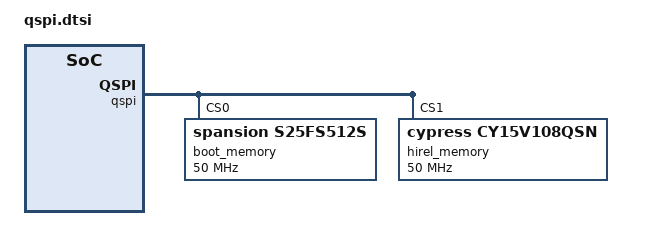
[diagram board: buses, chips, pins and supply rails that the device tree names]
&qspi {
	status = "okay";
	num-cs = <2>;

	/* CIPS uses Dual Stacked, but CS0 and CS1 are independent memories. */
	/delete-property/ is-stacked;
	/delete-property/ is-dual;

	/* Keep PLM fallback reads within the CS0 boot memory. */
	/delete-property/ xlnx,connection-mode;
	/delete-property/ xlnx,qspi-mode;
	xlnx,connection-mode = <0>;
	xlnx,qspi-mode = <0>;

	boot_memory: flash@0 {
		#address-cells = <1>;
		#size-cells = <1>;
		compatible = "spansion,s25fs512s", "jedec,spi-nor";
		reg = <0>;
		spi-tx-bus-width = <1>;
		spi-rx-bus-width = <4>;
		spi-max-frequency = <50000000>;
	};

	hirel_memory: flash@1 {
		#address-cells = <1>;
		#size-cells = <1>;
		compatible = "cypress,cy15v108qsn", "jedec,spi-nor";
		reg = <1>;
		spi-tx-bus-width = <1>;
		spi-rx-bus-width = <4>;
		spi-max-frequency = <50000000>;
	};
};
